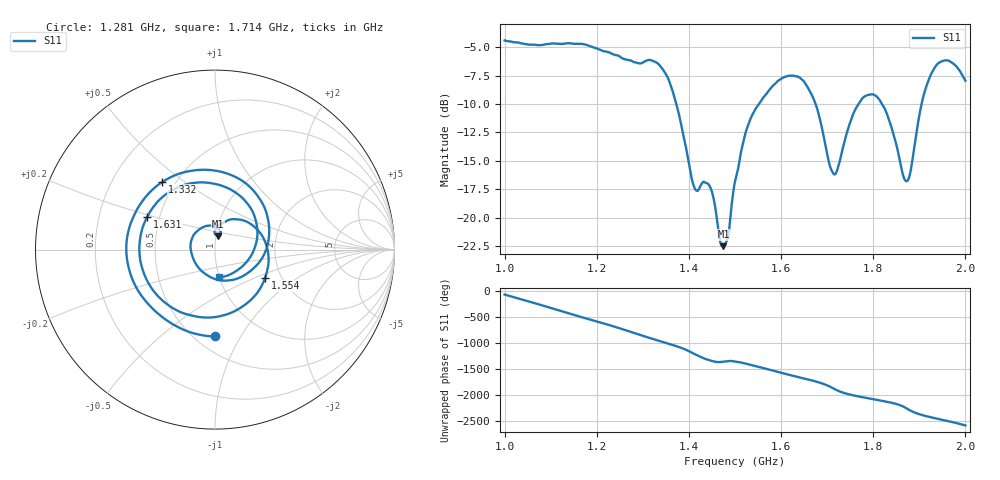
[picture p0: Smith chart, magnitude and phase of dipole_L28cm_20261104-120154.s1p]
! Dipole length 28 cm, measured 20261104-120154
# GHZ S RI R 50.000000000000
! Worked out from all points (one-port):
!   1001 points, 1 GHz to 2 GHz, reference 50 ohm
!   lowest |S11| = -22.5 dB at 1.475 GHz (marker M1), VSWR 1.16, Z = 51 + j7.53 ohm
!   |S11| at or under -10 dB: 1.373 GHz to 1.552 GHz (179.5 MHz wide, 12.3 % of centre); 1.675 GHz to 1.768 GHz (93.02 MHz wide, 5.4 % of centre); 1.819 GHz to 1.905 GHz (85.95 MHz wide, 4.62 % of centre)
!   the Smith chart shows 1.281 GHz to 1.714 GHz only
!   S11 on the Smith chart (normalised r, x): 1.281 GHz: 0.62, -0.78; 1.332 GHz: 0.43, +0.42; 1.554 GHz: 1.65, -0.58; 1.631 GHz: 0.43, +0.19; 1.714 GHz: 1.00, -0.32
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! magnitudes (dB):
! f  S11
! 1 GHz  -4.4
! 1.125 GHz  -4.7
! 1.25 GHz  -5.8
! 1.281 GHz  -6.3
! 1.332 GHz  -6.4
! 1.355 GHz  -7.8
! 1.375 GHz  -10.4
! 1.41 GHz  -17.1
! 1.446 GHz  -17.3
! 1.475 GHz  -22.5
! 1.485 GHz  -21.7
! 1.5 GHz  -16.8
! 1.525 GHz  -12.2
! 1.554 GHz  -9.9
! 1.625 GHz  -7.5
! 1.631 GHz  -7.5
! 1.672 GHz  -9.7
! 1.714 GHz  -16.1
! 1.75 GHz  -11.6
! 1.778 GHz  -9.4
! 1.808 GHz  -9.4
! 1.831 GHz  -11.0
! 1.865 GHz  -16.3
! 1.875 GHz  -16.7
! 1.907 GHz  -9.6
! 1.931 GHz  -7.0
! 1.963 GHz  -6.2
! 2 GHz  -7.9
